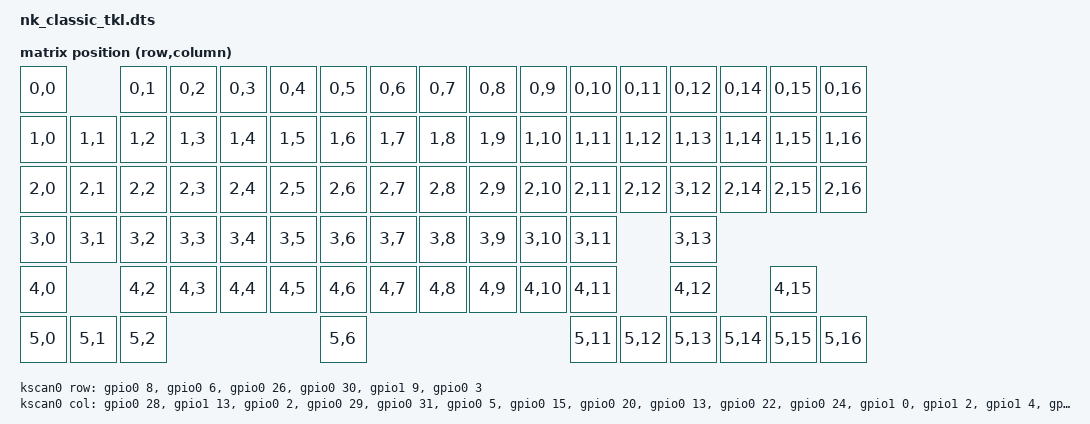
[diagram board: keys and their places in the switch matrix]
/*
 * Copyright (c) 2025 Yiancar
 *
 * SPDX-License-Identifier: MIT
 */

/dts-v1/;
#include <nordic/nrf52840_qiaa.dtsi>
#include <common/nordic/nrf52840_uf2_boot_mode.dtsi>

#include <dt-bindings/led/led.h>
#include <dt-bindings/zmk/matrix_transform.h>

#include "nk_classic_tkl-layouts.dtsi"

/ {
    chosen {
        zephyr,code-partition = &code_partition;
        zephyr,sram = &sram0;
        zephyr,flash = &flash0;
        zmk,kscan = &kscan0;
        zmk,battery = &vbatt;
        zmk,underglow = &led_strip;
    };

    kscan0: kscan {
        compatible = "zmk,kscan-gpio-matrix";
        diode-direction = "col2row";
        wakeup-source;

        row-gpios
            = <&gpio0 8  (GPIO_ACTIVE_HIGH | GPIO_PULL_DOWN)>
            , <&gpio0 6  (GPIO_ACTIVE_HIGH | GPIO_PULL_DOWN)>
            , <&gpio0 26 (GPIO_ACTIVE_HIGH | GPIO_PULL_DOWN)>
            , <&gpio0 30 (GPIO_ACTIVE_HIGH | GPIO_PULL_DOWN)>
            , <&gpio1 9  (GPIO_ACTIVE_HIGH | GPIO_PULL_DOWN)>
            , <&gpio0 3  (GPIO_ACTIVE_HIGH | GPIO_PULL_DOWN)>
            ;
        col-gpios
            = <&gpio0 28 GPIO_ACTIVE_HIGH>
            , <&gpio1 13 GPIO_ACTIVE_HIGH>
            , <&gpio0 2  GPIO_ACTIVE_HIGH>
            , <&gpio0 29 GPIO_ACTIVE_HIGH>
            , <&gpio0 31 GPIO_ACTIVE_HIGH>
            , <&gpio0 5  GPIO_ACTIVE_HIGH>
            , <&gpio0 15 GPIO_ACTIVE_HIGH>
            , <&gpio0 20 GPIO_ACTIVE_HIGH>
            , <&gpio0 13 GPIO_ACTIVE_HIGH>
            , <&gpio0 22 GPIO_ACTIVE_HIGH>
            , <&gpio0 24 GPIO_ACTIVE_HIGH>
            , <&gpio1 0  GPIO_ACTIVE_HIGH>
            , <&gpio1 2  GPIO_ACTIVE_HIGH>
            , <&gpio1 4  GPIO_ACTIVE_HIGH>
            , <&gpio0 9  GPIO_ACTIVE_HIGH>
            , <&gpio1 6  GPIO_ACTIVE_HIGH>
            , <&gpio0 10 GPIO_ACTIVE_HIGH>
            ;
    };

    default_transform: keymap_transform_0 {
        compatible = "zmk,matrix-transform";
        rows = <6>;
        columns = <17>;

        map = <
            RC(0,0)         RC(0,1) RC(0,2) RC(0,3) RC(0,4) RC(0,5) RC(0,6) RC(0,7) RC(0,8) RC(0,9)  RC(0,10) RC(0,11) RC(0,12)    RC(0,14) RC(0,15) RC(0,16)
            RC(1,0) RC(1,1) RC(1,2) RC(1,3) RC(1,4) RC(1,5) RC(1,6) RC(1,7) RC(1,8) RC(1,9) RC(1,10) RC(1,11) RC(1,12) RC(1,13)    RC(1,14) RC(1,15) RC(1,16)
            RC(2,0) RC(2,1) RC(2,2) RC(2,3) RC(2,4) RC(2,5) RC(2,6) RC(2,7) RC(2,8) RC(2,9) RC(2,10) RC(2,11) RC(2,12) RC(3,12)    RC(2,14) RC(2,15) RC(2,16)
            RC(3,0) RC(3,1) RC(3,2) RC(3,3) RC(3,4) RC(3,5) RC(3,6) RC(3,7) RC(3,8) RC(3,9) RC(3,10) RC(3,11)          RC(3,13)
            RC(4,0)         RC(4,2) RC(4,3) RC(4,4) RC(4,5) RC(4,6) RC(4,7) RC(4,8) RC(4,9) RC(4,10) RC(4,11)      RC(4,12)                 RC(4,15)
            RC(5,0) RC(5,1) RC(5,2)                         RC(5,6)                                  RC(5,11) RC(5,12) RC(5,13)    RC(5,14) RC(5,15) RC(5,16)
        >;
    };

    leds {
        compatible = "gpio-leds";
        blue_led: led_0 {
            gpios = <&gpio1 10 GPIO_ACTIVE_HIGH>;
            label = "Blue LED";
        };
    };

    EXT_POWER {
        compatible = "zmk,ext-power-generic";
        control-gpios = <&gpio0 4 GPIO_ACTIVE_HIGH>;
    };

    vbatt: vbatt {
        compatible = "zmk,battery-nrf-vddh";
        label = "BATTERY";
    };

    keys {
        compatible = "gpio-keys";
        soft_off_gpio_key: soft_off_gpio_key {
            gpios = <&gpio0 3 (GPIO_ACTIVE_HIGH | GPIO_PULL_DOWN)>;
        };
    };

    wakeup_scan: wakeup_scan {
        compatible = "zmk,gpio-key-wakeup-trigger";
        trigger = <&soft_off_gpio_key>;
        wakeup-source;
        extra-gpios = <&gpio0 15 GPIO_ACTIVE_HIGH>;
    };

    soft_off_wakers {
        compatible = "zmk,soft-off-wakeup-sources";
        wakeup-sources = <&wakeup_scan>;
    };
};

// Enable high voltage mode
&reg0 {
    status = "okay";
};

// Enable DCDC
&reg1 {
    regulator-initial-mode = <NRF5X_REG_MODE_DCDC>;
};

&adc {
    status = "okay";
};

&gpiote {
    status = "okay";
};

&gpio0 {
    status = "okay";
};

&gpio1 {
    status = "okay";
};

&uicr {
    nfct-pins-as-gpios;
};

zephyr_udc0: &usbd {
    status = "okay";
};

&pinctrl {
    spi3_default: spi3_default {
        group1 {
            psels = <NRF_PSEL(SPIM_MOSI, 0, 12)>;
        };
    };

    spi3_sleep: spi3_sleep {
        group1 {
            psels = <NRF_PSEL(SPIM_MOSI, 0, 12)>;
            low-power-enable;
        };
    };
};

&spi3 {
    compatible = "nordic,nrf-spim";
    status = "okay";

    pinctrl-0 = <&spi3_default>;
    pinctrl-1 = <&spi3_sleep>;
    pinctrl-names = "default", "sleep";

    led_strip: ws2812@0 {
        compatible = "worldsemi,ws2812-spi";

        /* SPI */
        reg = <0>; /* ignored, but necessary for SPI bindings */
        spi-max-frequency = <4000000>;

        /* WS2812 */
        chain-length = <92>; /* LED strip length */
        spi-one-frame = <0x70>;
        spi-zero-frame = <0x40>;
        color-mapping = <LED_COLOR_ID_GREEN LED_COLOR_ID_RED LED_COLOR_ID_BLUE>;
    };
};

&flash0 {
    /*
     * For more information, see:
     * http://docs.zephyrproject.org/latest/devices/dts/flash_partitions.html
     */
    partitions {
        compatible = "fixed-partitions";
        #address-cells = <1>;
        #size-cells = <1>;

        sd_partition: partition@0 {
            reg = <0x00000000 0x00026000>;
        };
        code_partition: partition@26000 {
            reg = <0x00026000 0x000c6000>;
        };

        /*
         * The flash starting at 0x000ec000 and ending at
         * 0x000f3fff is reserved for use by the application.
         */

        /*
         * Storage partition will be used by FCB/LittleFS/NVS
         * if enabled.
         */
        storage_partition: partition@ec000 {
            reg = <0x000ec000 0x00008000>;
        };

        boot_partition: partition@f4000 {
            reg = <0x000f4000 0x0000c000>;
        };
    };

// &flash0 {
    /*
     * For more information, see:
     * http://docs.zephyrproject.org/latest/devices/dts/flash_partitions.html
     */
    // partitions {
    //     compatible = "fixed-partitions";
    //     #address-cells = <1>;
    //     #size-cells = <1>;

    //     sd_partition: partition@0 {
    //         label = "mbr";
    //         reg = <0x00000000 0x00001000>;
    //     };

    //     code_partition: partition@1000 {
    //         label = "code_partition";
    //         reg = <0x00001000 0x000d3000>;
    //     };

    //     storage_partition: partition@d4000 {
    //         label = "storage";
    //         reg = <0x000d4000 0x00020000>;
    //     };

    //     boot_partition: partition@f4000 {
    //         label = "adafruit_boot";
    //         reg = <0x000f4000 0x0000c000>;
    //     };
    // };
};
